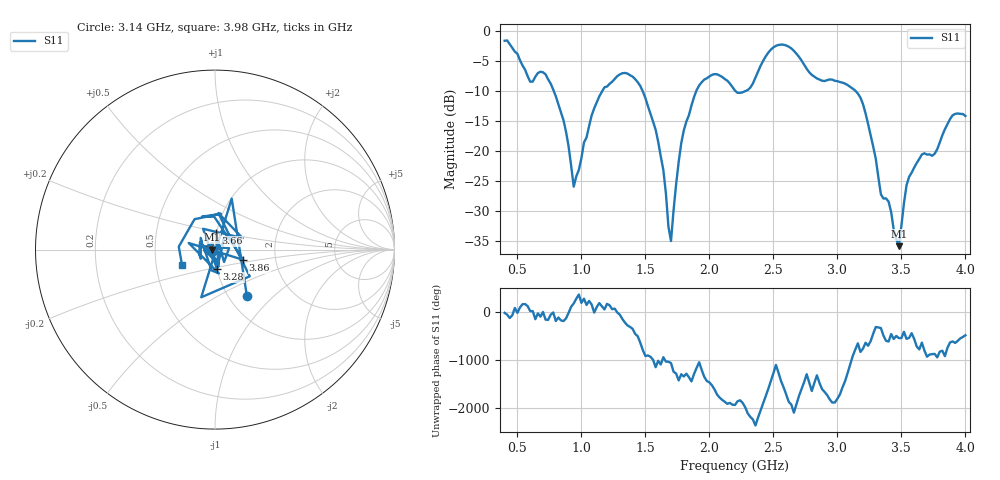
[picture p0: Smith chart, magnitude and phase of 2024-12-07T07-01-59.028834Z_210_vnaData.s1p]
!Created with skrf (http://scikit-rf.org).
# Hz S RI R 50.0
!freq ReS11 ImS11
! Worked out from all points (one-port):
!   181 points, 400 MHz to 4 GHz, reference 50 ohm
!   lowest |S11| = -35.9 dB at 3.48 GHz (marker M1), VSWR 1.03, Z = 48.4 - j0.0542 ohm
!   |S11| at or under -10 dB: 782.9 MHz to 1.165 GHz (382.1 MHz wide, 39.2 % of centre); 1.477 GHz to 1.899 GHz (421.6 MHz wide, 25 % of centre); 3.14 GHz to end of sweep (the widest 3 of 4)
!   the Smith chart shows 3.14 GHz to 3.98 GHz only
!   S11 on the Smith chart (normalised r, x): 3.14 GHz: 1.21, -0.70; 3.28 GHz: 1.00, -0.22; 3.66 GHz: 0.99, +0.19; 3.86 GHz: 1.36, -0.16; 3.98 GHz: 0.68, -0.12
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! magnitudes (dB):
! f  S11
! 400 MHz  -1.7
! 600 MHz  -8.5
! 720 MHz  -7.3
! 860 MHz  -14.9
! 940 MHz  -26.0
! 1.1 GHz  -12.9
! 1.3 GHz  -7.3
! 1.46 GHz  -9.2
! 1.58 GHz  -16.5
! 1.64 GHz  -23.2
! 1.7 GHz  -35.0
! 1.76 GHz  -21.9
! 1.94 GHz  -8.6
! 2.2 GHz  -10.0
! 2.5 GHz  -2.8
! 2.66 GHz  -3.4
! 3.1 GHz  -9.4
! 3.14 GHz  -10.0
! 3.28 GHz  -19.3
! 3.34 GHz  -27.3
! 3.4 GHz  -28.5
! 3.48 GHz  -35.9
! 3.56 GHz  -24.4
! 3.66 GHz  -20.6
! 3.76 GHz  -20.5
! 3.86 GHz  -15.6
! 3.98 GHz  -13.9
! 4 GHz  -14.2
